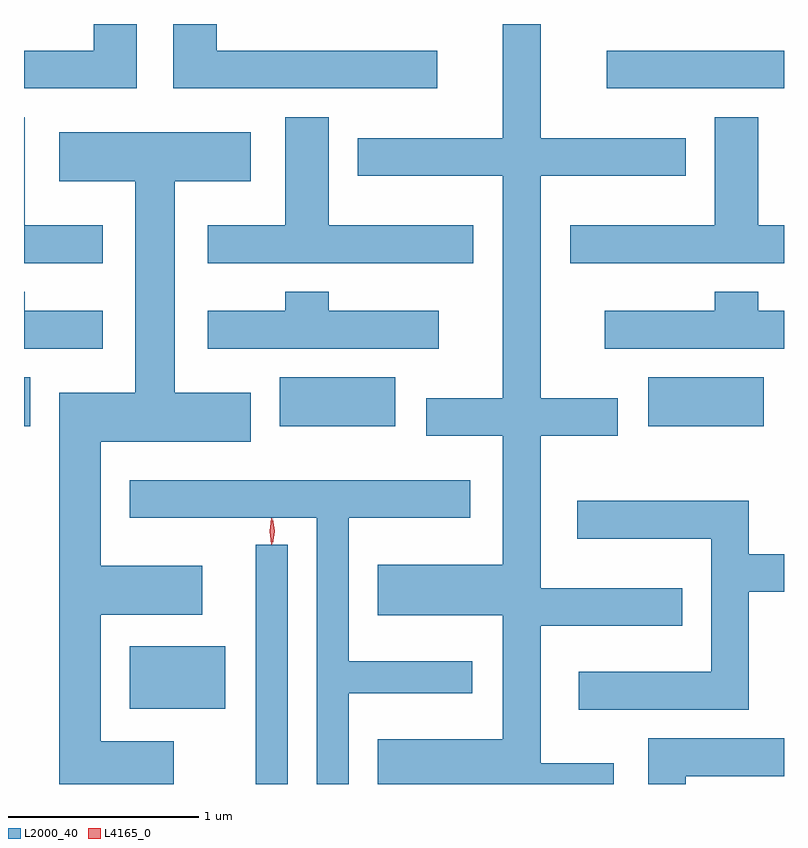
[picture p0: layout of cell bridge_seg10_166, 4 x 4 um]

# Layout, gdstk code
import gdstk
lib = gdstk.Library(unit=1e-6, precision=1e-09)
def R(c, l, rs):  # rectangles x0, y0, x1, y1
    for r in rs: c.add(gdstk.rectangle(r[:2], r[2:], *l))
def P(c, l, *ps):  # polygons
    for p in ps: c.add(gdstk.Polygon(p, *l))
L2000_40 = (2000, 40)
L4165_0 = (4165, 0)

bridge_seg10_166 = lib.new_cell('bridge_seg10_166')
R(bridge_seg10_166, L2000_40, [(1848.831,2140.914,1848.999,2142.173), (1848.166,2141.311,1848.669,2141.639), (1847.61,2142.796,1847.644,2143.054), (1848.956,2142.796,1849.564,2143.054), (1850.896,2142.796,1851.504,2143.054), (1850.676,2144.576,1851.61,2144.774)])
P(bridge_seg10_166, L2000_40, [(1850.714,2141.024),(1850.329,2141.024),(1850.329,2141.746),(1851.074,2141.746),(1851.074,2141.944),(1850.329,2141.944),(1850.329,2142.746),(1850.734,2142.746),(1850.734,2142.944),(1850.329,2142.944),(1850.329,2144.116),(1851.094,2144.116),(1851.094,2144.314),(1850.329,2144.314),(1850.329,2144.914),(1850.131,2144.914),(1850.131,2144.314),(1849.366,2144.314),(1849.366,2144.116),(1850.131,2144.116),(1850.131,2142.944),(1849.726,2142.944),(1849.726,2142.746),(1850.131,2142.746),(1850.131,2142.069),(1849.471,2142.069),(1849.471,2141.801),(1850.131,2141.801),(1850.131,2141.149),(1849.471,2141.149),(1849.471,2140.914),(1850.714,2140.914)],
  [(1848.204,2144.914),(1847.976,2144.914),(1847.976,2144.774),(1847.61,2144.774),(1847.61,2144.576),(1848.204,2144.576)],
  [(1849.784,2144.774),(1848.624,2144.774),(1848.624,2144.914),(1848.396,2144.914),(1848.396,2144.576),(1849.784,2144.576)],
  [(1848.024,2143.854),(1847.614,2143.854),(1847.614,2144.424),(1847.61,2144.424),(1847.61,2143.656),(1848.024,2143.656)],
  [(1851.61,2143.854),(1851.474,2143.854),(1851.474,2144.424),(1851.246,2144.424),(1851.246,2143.854),(1850.486,2143.854),(1850.486,2143.656),(1851.61,2143.656)],
  [(1849.974,2143.854),(1849.214,2143.854),(1849.214,2144.424),(1848.986,2144.424),(1848.986,2143.854),(1848.576,2143.854),(1848.576,2143.656),(1849.974,2143.656)],
  [(1848.399,2141.139),(1848.014,2141.139),(1848.014,2141.806),(1848.549,2141.806),(1848.549,2142.064),(1848.014,2142.064),(1848.014,2142.716),(1848.804,2142.716),(1848.804,2142.974),(1848.404,2142.974),(1848.404,2144.086),(1848.804,2144.086),(1848.804,2144.344),(1847.796,2144.344),(1847.796,2144.086),(1848.196,2144.086),(1848.196,2142.974),(1847.796,2142.974),(1847.796,2140.914),(1848.399,2140.914)],
  [(1848.024,2143.404),(1847.614,2143.404),(1847.614,2143.504),(1847.61,2143.504),(1847.61,2143.206),(1848.024,2143.206)],
  [(1849.794,2143.404),(1849.214,2143.404),(1849.214,2143.504),(1848.986,2143.504),(1848.986,2143.404),(1848.576,2143.404),(1848.576,2143.206),(1849.794,2143.206)],
  [(1851.61,2143.404),(1851.474,2143.404),(1851.474,2143.504),(1851.246,2143.504),(1851.246,2143.404),(1850.666,2143.404),(1850.666,2143.206),(1851.61,2143.206)],
  [(1849.319,2141.391),(1849.968,2141.391),(1849.968,2141.559),(1849.319,2141.559),(1849.319,2142.316),(1849.959,2142.316),(1849.959,2142.514),(1848.166,2142.514),(1848.166,2142.316),(1849.151,2142.316),(1849.151,2140.914),(1849.319,2140.914)],
  [(1851.424,2141.926),(1851.61,2141.926),(1851.61,2142.124),(1851.424,2142.124),(1851.424,2142.404),(1850.521,2142.404),(1850.521,2142.206),(1851.226,2142.206),(1851.226,2141.504),(1850.531,2141.504),(1850.531,2141.306),(1851.424,2141.306)],
  [(1851.094,2140.956),(1851.61,2140.956),(1851.61,2141.154),(1850.896,2141.154),(1850.896,2140.914),(1851.094,2140.914)])
P(bridge_seg10_166, L4165_0, [(1848.913,2142.174),(1848.912,2142.175),(1848.903,2142.244),(1848.912,2142.313),(1848.913,2142.314),(1848.914,2142.313),(1848.923,2142.244),(1848.914,2142.175)],
  [(1848.918,2142.178),(1848.909,2142.244),(1848.919,2142.31),(1848.919,2142.311),(1848.92,2142.31),(1848.929,2142.244),(1848.919,2142.178),(1848.919,2142.178)])

lib.write_gds('bridge_seg10_166.gds')
